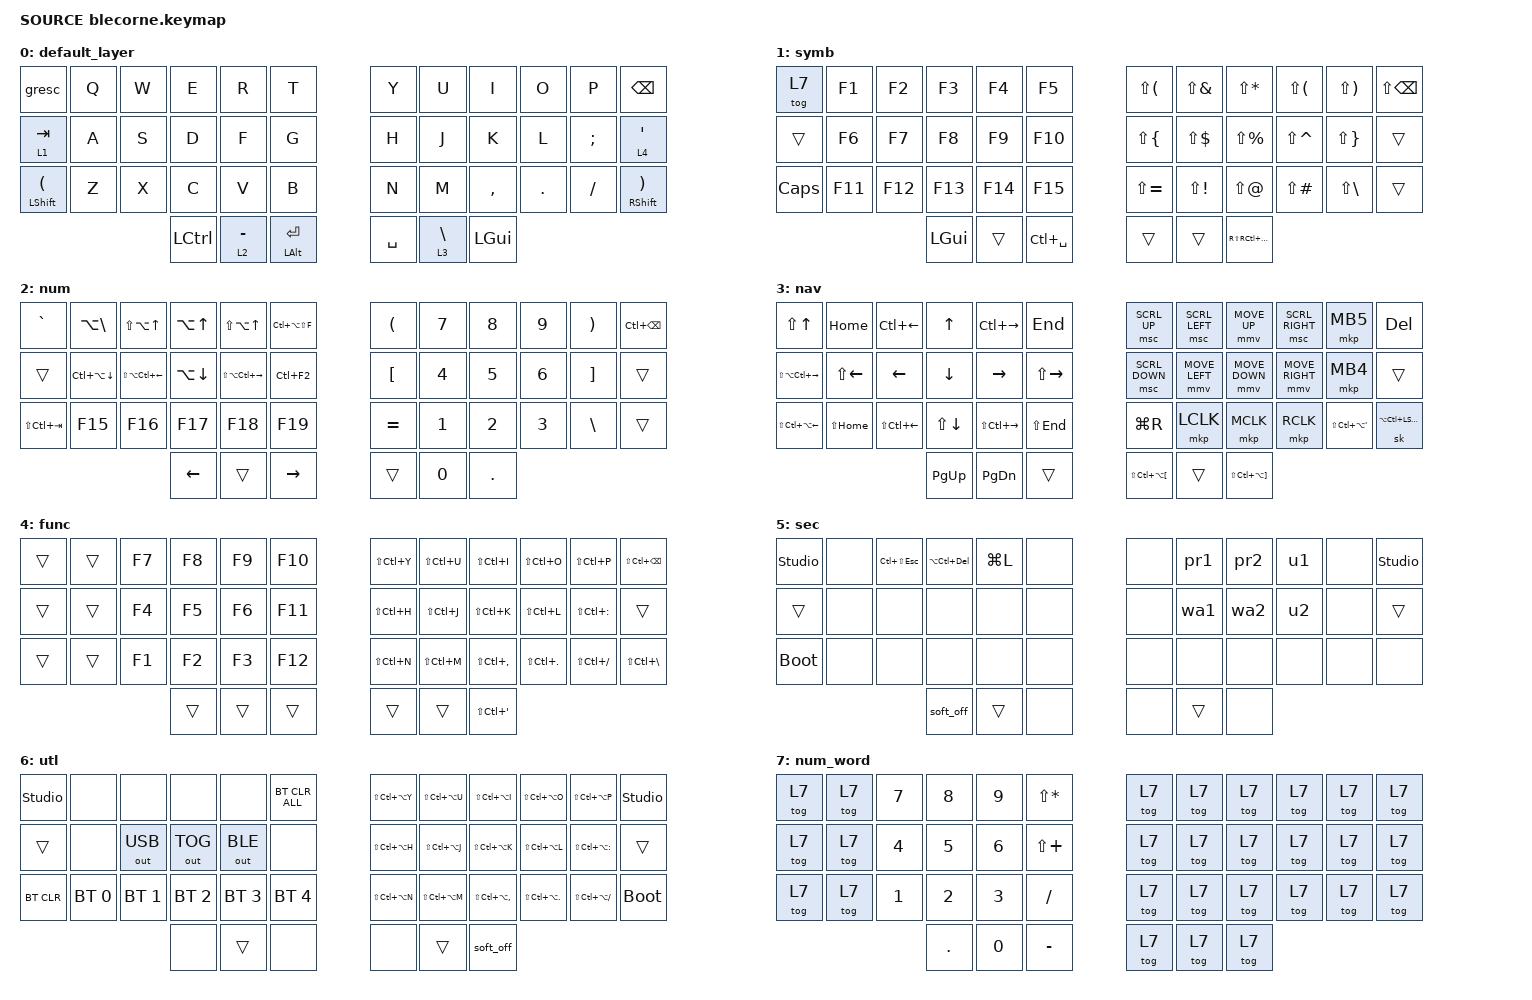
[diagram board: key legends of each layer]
/*
 * Copyright (c) 2020 The ZMK Contributors
 *
 * SPDX-License-Identifier: MIT
 */

#include <behaviors.dtsi>
#include <dt-bindings/zmk/bt.h>
#include <dt-bindings/zmk/keys.h>
#include <dt-bindings/zmk/outputs.h>
#include <dt-bindings/zmk/pointing.h>

&gresc {
    keep-mods = <(MOD_LSFT|MOD_RSFT)>;
    mods = <(MOD_LSFT|MOD_RSFT|MOD_LCTL|MOD_RCTL)>;
};

/ {
    combos {
        compatible = "zmk,combos";

        caps_lock {
            bindings = <&kp CAPS>;
            key-positions = <24 35>;
        };

        left_meh {
            bindings = <&kp LC(LA(LEFT_SHIFT))>;
            key-positions = <24 25>;
        };

        right_meh {
            bindings = <&kp LC(LA(LEFT_SHIFT))>;
            key-positions = <35 34>;
        };

        left_hyper {
            bindings = <&kp LA(LC(LG(LEFT_SHIFT)))>;
            key-positions = <24 25 26>;
        };

        right_hyper {
            bindings = <&kp LA(LC(LG(LEFT_SHIFT)))>;
            key-positions = <35 34 33>;
        };

        ctrl_alt_del_left {
            bindings = <&kp LA(LC(DELETE))>;
            key-positions = <25 26 27 28>;
        };

        ctrl_alt_del_right {
            bindings = <&kp LA(LC(DELETE))>;
            key-positions = <34 33 32 31>;
        };
    };

    macros {
        pr1: p1 {
            compatible = "zmk,behavior-macro";
            #binding-cells = <0>;
            bindings = <&kp COLON &kp K &kp O &kp N8 &kp LS(S) &kp EXCL &kp LS(P) &kp LS(C) &kp AT &kp TILDE &kp UNDER &kp LBKT>;
            label = "P1";
        };

        pr2: p2 {
            compatible = "zmk,behavior-macro";
            #binding-cells = <0>;
            bindings = <&kp Y &kp LS(O) &kp LS(A) &kp LT &kp GT &kp N5 &kp U &kp P &kp LS(R) &kp LS(K) &kp N4 &kp D>;
            label = "P2";
        };

        u1: u1 {
            compatible = "zmk,behavior-macro";
            #binding-cells = <0>;
            bindings = <&kp A &kp A &kp R &kp O &kp N &kp DOT &kp R &kp E &kp E &kp V &kp E &kp S &kp AT &kp C &kp O &kp R &kp G &kp A &kp N &kp DOT &kp C &kp O &kp M>;
            label = "U1";
        };

        u2: u2 {
            compatible = "zmk,behavior-macro";
            #binding-cells = <0>;
            bindings = <&kp W &kp O &kp R &kp K &kp N1 &kp N2 &kp N3 &kp LS(B) &kp O &kp O &kp H &kp O &kp O &kp N7 &kp N7>;
            label = "U2";
        };

        wa1: wa1 {
            compatible = "zmk,behavior-macro";
            #binding-cells = <0>;
            bindings = <&kp LS(V) &kp N7 &kp LS(S) &kp N8 &kp P &kp N9 &kp LS(Y) &kp LS(T) &kp LBKT &kp A &kp LS(E) &kp LS(Q)>;
            label = "WA1";
        };

        wa2: wa2 {
            compatible = "zmk,behavior-macro";
            #binding-cells = <0>;
            bindings = <&kp LS(A) &kp DOT &kp LS(Y) &kp LS(A) &kp COLON &kp STAR &kp LS(Y) &kp LS(S) &kp LT &kp LS(O) &kp SQT &kp STAR>;
            label = "WA2";
        };
    };

    keymap {
        compatible = "zmk,keymap";

        default_layer {
            bindings = <
&gresc          &kp Q  &kp W  &kp E      &kp R        &kp T                  &kp Y      &kp U       &kp I         &kp O    &kp P     &kp BSPC
&lt 1 TAB       &kp A  &kp S  &kp D      &kp F        &kp G                  &kp H      &kp J       &kp K         &kp L    &kp SEMI  &lt 4 APOS
&mt LSHFT LPAR  &kp Z  &kp X  &kp C      &kp V        &kp B                  &kp N      &kp M       &kp COMMA     &kp DOT  &kp FSLH  &mt RIGHT_SHIFT RIGHT_PARENTHESIS
                              &kp LCTRL  &lt 2 MINUS  &mt LEFT_ALT RETURN    &kp SPACE  &lt 3 BSLH  &kp LEFT_GUI
            >;
        };

        symb {
            bindings = <
&tog 7        &kp F1   &kp F2   &kp F3        &kp F4   &kp F5           &kp LS(LPAR)   &kp LS(AMPS)  &kp LS(STAR)      &kp LS(LPAR)   &kp LS(RPAR)  &kp LS(BACKSPACE)
&trans        &kp F6   &kp F7   &kp F8        &kp F9   &kp F10          &kp LS(LBRC)   &kp LS(DLLR)  &kp LS(PRCNT)     &kp LS(CARET)  &kp LS(RBRC)  &trans
&kp CAPSLOCK  &kp F11  &kp F12  &kp F13       &kp F14  &kp F15          &kp LS(EQUAL)  &kp LS(EXCL)  &kp LS(AT)        &kp LS(POUND)  &kp LS(BSLH)  &trans
                                &kp LEFT_GUI  &trans   &kp LC(SPACE)    &trans         &trans        &kp RS(RC(RALT))
            >;
        };

        num {
            bindings = <
&kp GRAVE        &kp LA(BACKSLASH)  &kp LS(LA(UP))        &kp LA(UP)      &kp LS(LA(UP_ARROW))   &kp LC(LA(LS(F)))    &kp LPAR   &kp N7  &kp N8      &kp N9  &kp RPAR  &kp LC(BSPC)
&trans           &kp LC(LA(DOWN))   &kp LS(LA(LC(LEFT)))  &kp LA(DOWN)    &kp LS(LA(LC(RIGHT)))  &kp LC(F2)           &kp LBKT   &kp N4  &kp N5      &kp N6  &kp RBKT  &trans
&kp LS(LC(TAB))  &kp F15            &kp F16               &kp F17         &kp F18                &kp F19              &kp EQUAL  &kp N1  &kp N2      &kp N3  &kp BSLH  &trans
                                                          &kp LEFT_ARROW  &trans                 &kp RIGHT            &trans     &kp N0  &kp PERIOD
            >;
        };

        nav {
            bindings = <
&kp LS(UP)                   &kp HOME      &kp LC(LEFT)      &kp UP        &kp LC(RIGHT)      &kp END          &msc SCRL_UP                  &msc SCRL_LEFT  &mmv MOVE_UP                   &msc SCRL_RIGHT  &mkp MB5              &kp DEL
&kp LS(LA(LC(RIGHT_ARROW)))  &kp LS(LEFT)  &kp LEFT          &kp DOWN      &kp RIGHT          &kp LS(RIGHT)    &msc SCRL_DOWN                &mmv MOVE_LEFT  &mmv MOVE_DOWN                 &mmv MOVE_RIGHT  &mkp MB4              &trans
&kp LS(LC(LA(LEFT)))         &kp LS(HOME)  &kp LS(LC(LEFT))  &kp LS(DOWN)  &kp LS(LC(RIGHT))  &kp LS(END)      &kp LG(R)                     &mkp LCLK       &mkp MCLK                      &mkp RCLK        &kp LS(LC(LA(APOS)))  &sk LA(LC(LEFT_SHIFT))
                                                             &kp PAGE_UP   &kp PAGE_DOWN      &trans           &kp LS(LC(LA(LEFT_BRACKET)))  &trans          &kp LS(LC(LA(RIGHT_BRACKET)))
            >;
        };

        func {
            bindings = <
&trans  &trans  &kp F7  &kp F8  &kp F9  &kp F10    &kp LS(LC(Y))  &kp LS(LC(U))  &kp LS(LC(I))             &kp LS(LC(O))       &kp LS(LC(P))      &kp LS(LC(BACKSPACE))
&trans  &trans  &kp F4  &kp F5  &kp F6  &kp F11    &kp LS(LC(H))  &kp LS(LC(J))  &kp LS(LC(K))             &kp LS(LC(L))       &kp LS(LC(COLON))  &trans
&trans  &trans  &kp F1  &kp F2  &kp F3  &kp F12    &kp LS(LC(N))  &kp LS(LC(M))  &kp LS(LC(COMMA))         &kp LS(LC(PERIOD))  &kp LS(LC(FSLH))   &kp LS(LC(BSLH))
                        &trans  &trans  &trans     &trans         &trans         &kp LS(LC(SINGLE_QUOTE))
            >;
        };

        sec {
            bindings = <
&studio_unlock  &none  &kp LC(LS(ESC))  &kp LA(LC(DELETE))  &kp LG(L)  &none    &none  &pr1    &pr2   &u1    &none  &studio_unlock
&trans          &none  &none            &none               &none      &none    &none  &wa1    &wa2   &u2    &none  &trans
&bootloader     &none  &none            &none               &none      &none    &none  &none   &none  &none  &none  &none
                                        &soft_off           &trans     &none    &none  &trans  &none
            >;
        };

        utl {
            bindings = <
&studio_unlock  &none         &none         &none         &none         &bt BT_CLR_ALL    &kp LS(LC(LA(Y)))  &kp LS(LC(LA(U)))  &kp LS(LC(LA(I)))      &kp LS(LC(LA(O)))       &kp LS(LC(LA(P)))      &studio_unlock
&trans          &none         &out OUT_USB  &out OUT_TOG  &out OUT_BLE  &none             &kp LS(LC(LA(H)))  &kp LS(LC(LA(J)))  &kp LS(LC(LA(K)))      &kp LS(LC(LA(L)))       &kp LS(LC(LA(COLON)))  &trans
&bt BT_CLR      &bt BT_SEL 0  &bt BT_SEL 1  &bt BT_SEL 2  &bt BT_SEL 3  &bt BT_SEL 4      &kp LS(LC(LA(N)))  &kp LS(LC(LA(M)))  &kp LS(LC(LA(COMMA)))  &kp LS(LC(LA(PERIOD)))  &kp LS(LC(LA(SLASH)))  &bootloader
                                            &none         &trans        &none             &none              &trans             &soft_off
            >;
        };

        num_word {
            bindings = <
&tog 7  &tog 7  &kp N7  &kp N8   &kp N9  &kp LS(STAR)    &tog 7  &tog 7  &tog 7  &tog 7  &tog 7  &tog 7
&tog 7  &tog 7  &kp N4  &kp N5   &kp N6  &kp LS(PLUS)    &tog 7  &tog 7  &tog 7  &tog 7  &tog 7  &tog 7
&tog 7  &tog 7  &kp N1  &kp N2   &kp N3  &kp FSLH        &tog 7  &tog 7  &tog 7  &tog 7  &tog 7  &tog 7
                        &kp DOT  &kp N0  &kp MINUS       &tog 7  &tog 7  &tog 7
            >;
        };
    };

    conditional_layers {
        compatible = "zmk,conditional-layers";

        sec {
            if-layers = <1 2>;
            then-layer = <5>;
        };

        utl {
            if-layers = <3 4>;
            then-layer = <6>;
        };
    };
};
